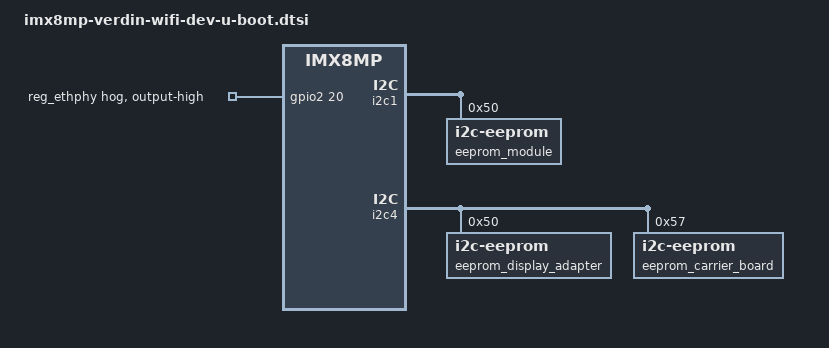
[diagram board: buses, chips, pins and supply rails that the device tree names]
// SPDX-License-Identifier: GPL-2.0-or-later OR MIT
/*
 * Copyright 2022 Toradex
 */

#include "imx8mp-u-boot.dtsi"

/ {
	firmware {
		optee {
			compatible = "linaro,optee-tz";
			method = "smc";
		};
	};

	wdt-reboot {
		compatible = "wdt-reboot";
		u-boot,dm-spl;
		wdt = <&wdog1>;
	};
};

&{/aliases} {
	eeprom0 = &eeprom_module;
	eeprom1 = &eeprom_carrier_board;
	eeprom2 = &eeprom_display_adapter;
};

&clk {
	u-boot,dm-pre-reloc;
	u-boot,dm-spl;
	/delete-property/ assigned-clocks;
	/delete-property/ assigned-clock-parents;
	/delete-property/ assigned-clock-rates;

};

&crypto {
	u-boot,dm-spl;
};

&eqos {
	/delete-property/ assigned-clocks;
	/delete-property/ assigned-clock-parents;
	/delete-property/ assigned-clock-rates;
};

&gpio1 {
	u-boot,dm-spl;
};

&gpio2 {
	u-boot,dm-spl;

	regulator-ethphy {
		gpio-hog;
		gpios = <20 GPIO_ACTIVE_HIGH>;
		line-name = "reg_ethphy";
		output-high;
		pinctrl-names = "default";
		pinctrl-0 = <&pinctrl_reg_eth>;
	};
};

&gpio3 {
	u-boot,dm-spl;
};

&gpio4 {
	u-boot,dm-spl;
};

&gpio5 {
	u-boot,dm-spl;
};

&i2c1 {
	u-boot,dm-spl;

	eeprom_module: eeprom@50 {
		compatible = "i2c-eeprom";
		pagesize = <16>;
		reg = <0x50>;
	};
};

&i2c2 {
	u-boot,dm-spl;
};

&i2c3 {
	u-boot,dm-spl;
};

&i2c4 {
	/* EEPROM on display adapter (MIPI DSI Display Adapter) */
	eeprom_display_adapter: eeprom@50 {
		compatible = "i2c-eeprom";
		pagesize = <16>;
		reg = <0x50>;
	};

	/* EEPROM on carrier board */
	eeprom_carrier_board: eeprom@57 {
		compatible = "i2c-eeprom";
		pagesize = <16>;
		reg = <0x57>;
	};
};

&pca9450 {
	u-boot,dm-spl;
};

&pinctrl_i2c1 {
	u-boot,dm-spl;
};

&pinctrl_usdhc2_pwr_en {
	u-boot,dm-spl;
	u-boot,off-on-delay-us = <20000>;
};

&pinctrl_uart3 {
	u-boot,dm-spl;
};

&pinctrl_usdhc2_cd {
	u-boot,dm-spl;
};

&pinctrl_usdhc2 {
	u-boot,dm-spl;
};

&pinctrl_usdhc3 {
	u-boot,dm-spl;
};

&pinctrl_wdog {
	u-boot,dm-spl;
};

&reg_usdhc2_vmmc {
	u-boot,dm-spl;
};

&sec_jr0 {
	u-boot,dm-spl;
};

&sec_jr1 {
	u-boot,dm-spl;
};

&sec_jr2 {
	u-boot,dm-spl;
};

&uart3 {
	u-boot,dm-spl;
};

&usdhc1 {
	status = "disabled";
};

&usdhc2 {
	assigned-clock-parents = <&clk IMX8MP_SYS_PLL1_400M>;
	assigned-clock-rates = <400000000>;
	assigned-clocks = <&clk IMX8MP_CLK_USDHC2>;
	sd-uhs-ddr50;
	sd-uhs-sdr104;
	u-boot,dm-spl;
};

&usdhc3 {
	assigned-clock-parents = <&clk IMX8MP_SYS_PLL1_400M>;
	assigned-clock-rates = <400000000>;
	assigned-clocks = <&clk IMX8MP_CLK_USDHC3>;
	mmc-hs400-1_8v;
	mmc-hs400-enhanced-strobe;
	u-boot,dm-spl;
};

&wdog1 {
	u-boot,dm-spl;
};
